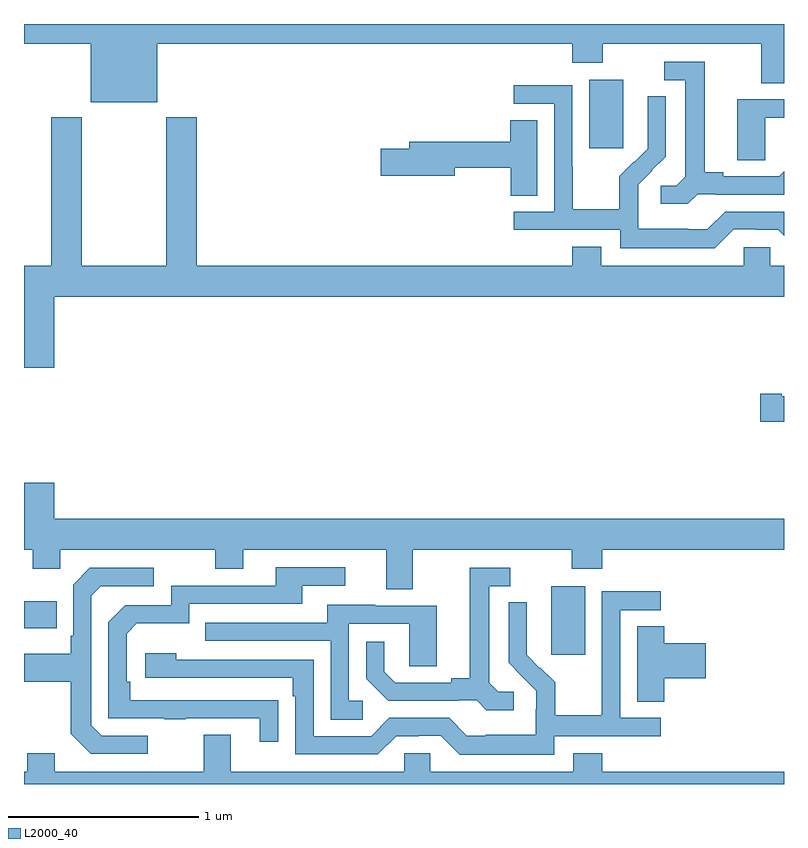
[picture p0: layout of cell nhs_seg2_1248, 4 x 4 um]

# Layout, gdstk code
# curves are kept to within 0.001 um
import gdstk
lib = gdstk.Library(unit=1e-6, precision=1e-09)
def R(c, l, rs):  # rectangles x0, y0, x1, y1
    for r in rs: c.add(gdstk.rectangle(r[:2], r[2:], *l))
def P(c, l, *ps):  # polygons
    for p in ps: c.add(gdstk.Polygon(p, *l))
L2000_40 = (2000, 40)

nhs_seg2_1248 = lib.new_cell('nhs_seg2_1248')
R(nhs_seg2_1248, L2000_40, [(179.774,584.481,179.953,584.842), (177,584.621,177.173,584.761), (179.975,587.145,180.154,587.506)])
P(nhs_seg2_1248, L2000_40, [(177.7,587.696),(179.885,587.696),(179.885,587.597),(180.045,587.597),(180.045,587.696),(180.881,587.696),(180.881,587.488),(181,587.488),(181,587.8),(177,587.8),(177,587.696),(177.35,587.696),(177.35,587.387),(177.7,587.387)],
  [(180.546,586.905),(180.64,586.905),(180.64,586.902),(181,586.902),(181,587.024),(180.974,586.998),(180.679,586.998),(180.679,587.021),(180.583,587.021),(180.583,587.601),(180.369,587.601),(180.369,587.505),(180.479,587.505),(180.479,586.997),(180.432,586.95),(180.351,586.95),(180.351,586.853),(180.494,586.853)],
  [(180.735,586.719),(180.851,586.719),(180.851,586.716),(180.969,586.716),(181,586.685),(181,586.812),(180.69,586.812),(180.597,586.719),(180.497,586.719),(180.497,586.723),(180.234,586.723),(180.234,586.857),(180.232,586.857),(180.232,586.954),(180.378,587.102),(180.378,587.42),(180.282,587.42),(180.282,587.266),(180.284,587.266),(180.284,587.144),(180.213,587.073),(180.21,587.076),(180.133,586.999),(180.133,586.825),(179.889,586.825),(179.889,587.048),(179.886,587.048),(179.886,587.478),(179.577,587.478),(179.577,587.379),(179.79,587.379),(179.79,586.812),(179.577,586.812),(179.577,586.716),(180.138,586.716),(180.138,586.619),(180.635,586.619)],
  [(180.9,587.307),(181,587.307),(181,587.403),(180.755,587.403),(180.755,587.083),(180.9,587.083)],
  [(177.16,586.364),(181,586.364),(181,586.528),(180.927,586.528),(180.927,586.626),(180.789,586.626),(180.789,586.528),(180.037,586.528),(180.037,586.627),(179.885,586.627),(179.885,586.528),(177.908,586.528),(177.908,587.308),(177.748,587.308),(177.748,586.528),(177.303,586.528),(177.303,587.308),(177.143,587.308),(177.143,586.528),(177,586.528),(177,585.99),(177.16,585.99)],
  [(179.701,587.294),(179.558,587.294),(179.558,587.18),(179.027,587.18),(179.027,587.144),(178.878,587.144),(178.878,587.002),(179.266,587.002),(179.266,587.044),(179.563,587.044),(179.563,586.897),(179.701,586.897)],
  [(181,585.841),(180.988,585.841),(180.988,585.854),(180.876,585.854),(180.876,585.707),(181,585.707)],
  [(179.047,585.032),(179.884,585.032),(179.884,584.933),(180.044,584.933),(180.044,585.032),(181,585.032),(181,585.196),(177.16,585.196),(177.16,585.385),(177,585.385),(177,585.032),(177.046,585.032),(177.046,584.933),(177.192,584.933),(177.192,585.032),(178.006,585.032),(178.006,584.933),(178.153,584.933),(178.153,585.032),(178.907,585.032),(178.907,584.824),(179.047,584.824)],
  [(178.337,584.24),(177.56,584.241),(177.56,584.338),(177.54,584.338),(177.54,584.592),(177.593,584.645),(177.87,584.645),(177.87,584.748),(178.465,584.748),(178.465,584.844),(178.69,584.844),(178.69,584.94),(178.325,584.94),(178.325,584.844),(177.774,584.844),(177.774,584.742),(177.534,584.742),(177.444,584.652),(177.444,584.145),(177.739,584.145),(177.739,584.14),(177.851,584.14),(177.851,584.145),(178.241,584.145),(178.241,584.022),(178.337,584.022)],
  [(179.578,584.286),(179.496,584.286),(179.449,584.333),(179.449,584.841),(179.56,584.841),(179.56,584.937),(179.345,584.937),(179.345,584.357),(179.249,584.357),(179.249,584.334),(178.954,584.334),(178.897,584.391),(178.897,584.548),(178.8,584.548),(178.8,584.354),(178.916,584.238),(179.288,584.238),(179.288,584.241),(179.382,584.241),(179.434,584.189),(179.578,584.189)],
  [(177.652,584.055),(177.408,584.055),(177.354,584.109),(177.354,584.79),(177.405,584.841),(177.682,584.841),(177.682,584.937),(177.345,584.937),(177.258,584.85),(177.258,584.581),(177.246,584.581),(177.246,584.485),(177,584.485),(177,584.338),(177.246,584.338),(177.246,584.065),(177.351,583.959),(177.652,583.959)],
  [(179.79,584.052),(180.352,584.052),(180.352,584.148),(180.138,584.148),(180.138,584.715),(180.352,584.715),(180.352,584.814),(180.042,584.814),(180.042,584.384),(180.04,584.384),(180.04,584.161),(179.795,584.161),(179.795,584.335),(179.718,584.412),(179.715,584.409),(179.645,584.48),(179.646,584.756),(179.55,584.756),(179.55,584.438),(179.696,584.29),(179.696,584.193),(179.694,584.193),(179.694,584.059),(179.431,584.059),(179.431,584.055),(179.331,584.055),(179.238,584.148),(178.923,584.148),(178.827,584.052),(178.524,584.052),(178.524,584.454),(177.8,584.454),(177.8,584.488),(177.639,584.488),(177.639,584.358),(178.415,584.358),(178.415,584.261),(178.428,584.261),(178.428,583.956),(178.863,583.956),(178.959,584.052),(179.078,584.052),(179.078,584.055),(179.193,584.055),(179.293,583.955),(179.79,583.955)],
  [(178.783,584.238),(178.71,584.238),(178.71,584.643),(179.028,584.643),(179.028,584.419),(179.173,584.419),(179.173,584.739),(178.849,584.739),(178.849,584.743),(178.595,584.743),(178.595,584.649),(177.955,584.649),(177.955,584.553),(178.614,584.553),(178.614,584.137),(178.783,584.137)],
  [(180.371,584.357),(180.589,584.357),(180.589,584.54),(180.371,584.54),(180.371,584.63),(180.227,584.63),(180.227,584.233),(180.371,584.233)],
  [(179.891,583.963),(179.891,583.864),(179.139,583.864),(179.139,583.962),(179.001,583.962),(179.001,583.864),(178.087,583.864),(178.087,584.059),(177.947,584.059),(177.947,583.864),(177.163,583.864),(177.163,583.963),(177.016,583.963),(177.016,583.864),(177,583.864),(177,583.8),(181,583.8),(181,583.864),(180.044,583.864),(180.044,583.963)])

lib.write_gds('nhs_seg2_1248.gds')
